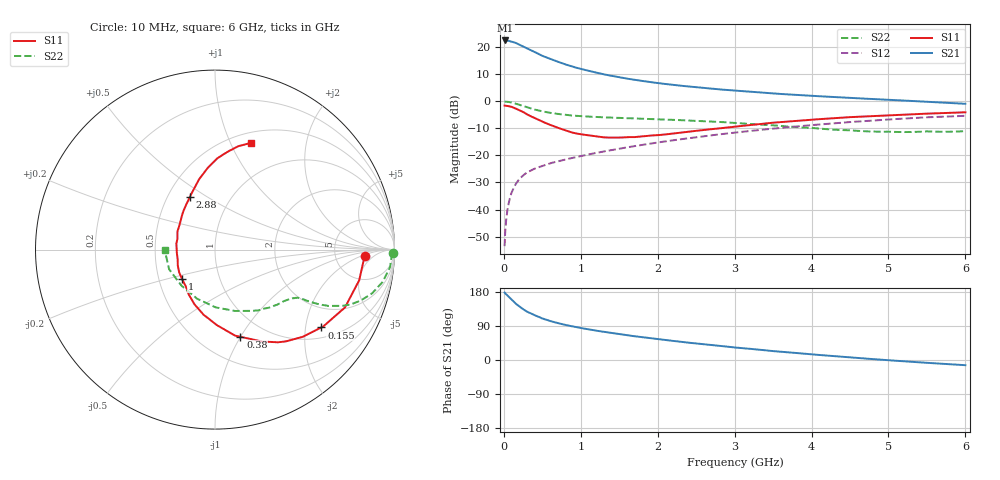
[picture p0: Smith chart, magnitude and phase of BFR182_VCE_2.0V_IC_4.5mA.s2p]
! Infineon Technologies  Discrete & RF Semiconductors
! BFR182
! VCE =  2.0 V,  IC =  4.5 mA
! Common Emitter S-Parameters:  Nov 2015
# GHz  S  MA  R  50
!  f  S11  S21  S12  S22
! GHz  MAG  ANG  MAG  ANG  MAG  ANG  MAG  ANG
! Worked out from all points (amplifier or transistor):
!   210 points, 10 MHz to 6 GHz, reference 50 ohm
!   highest |S21| = 22.5 dB at 20 MHz (marker M1)
!   |S21| within 3 dB of that: start of sweep to 310 MHz
!   unconditionally stable (mu >= 1): 1.113 GHz to 2.888 GHz
!   at 185 MHz: K = 0.31, MSG = 25.3 dB, |S12| = -29.3 dB
!   at 1.52 GHz: K = 1.06, MAG = 11.6 dB, |S12| = -17.4 dB
!   at 6 GHz: K = 0.89, MSG = 2.2 dB, |S12| = -5.4 dB
!   S11 on the Smith chart (normalised r, x): 10 MHz: 10, -3; 155 MHz: 1.30, -2.45; 380 MHz: 0.77, -1.00; 1 GHz: 0.66, -0.23; 2.88 GHz: 0.65, +0.42; 6 GHz: 0.61, +1.19
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0.01  0.8344 -2.6  13.21 178.0  0.0021 86.6  0.9913 -1.1
0.02  0.8284 -5.0  13.32 175.5  0.0043 84.4  0.984 -2.3
0.055  0.817 -13.2  13.18 168.5  0.0114 82.5  0.9771 -6.2
0.1  0.7927 -24.0  12.69 159.7  0.0204 78.1  0.9515 -10.9
0.155  0.7341 -36.2  11.98 148.7  0.0296 71.5  0.9045 -15.8
0.2  0.6894 -44.8  11.22 141.6  0.0364 68.3  0.8625 -19.1
0.26  0.6245 -55.8  10.18 132.9  0.0437 64.4  0.8109 -22.2
0.3  0.5763 -62.8  9.581 127.6  0.0482 62.9  0.776 -23.8
0.38  0.5061 -73.7  8.418 120.2  0.0551 60.4  0.7179 -25.9
0.5  0.4213 -88.5  6.92 109.6  0.0637 58.3  0.6508 -27.8
0.6  0.3682 -100.0  6.083 103.0  0.0713 58.0  0.6127 -28.6
0.7  0.3258 -110.5  5.397 97.3  0.0776 57.9  0.5843 -29.1
0.8  0.2901 -120.2  4.807 92.4  0.0839 58.1  0.5621 -29.4
1  0.2461 -138.7  3.965 84.3  0.0971 59.3  0.5312 -30.3
1.02  0.2436 -140.5  3.903 83.7  0.0985 59.4  0.5293 -30.5
1.4  0.2135 -173.7  2.953 71.3  0.125 60.6  0.4992 -33.6
2.02  0.2379 147.3  2.157 54.8  0.1747 60.0  0.4651 -41.0
2.88  0.3246 115.6  1.626 35.7  0.252 55.5  0.4093 -56.0
3.1  0.3512 110.3  1.537 31.4  0.2731 53.7  0.3902 -61.0
4.1  0.4675 93.6  1.24 13.3  0.3724 43.8  0.3129 -93.0
5.1  0.5579 81.5  1.05 -2.0  0.4702 31.4  0.2712 -137.6
6  0.6263 71.5  0.899 -13.7  0.5392 18.5  0.2805 -179.7
